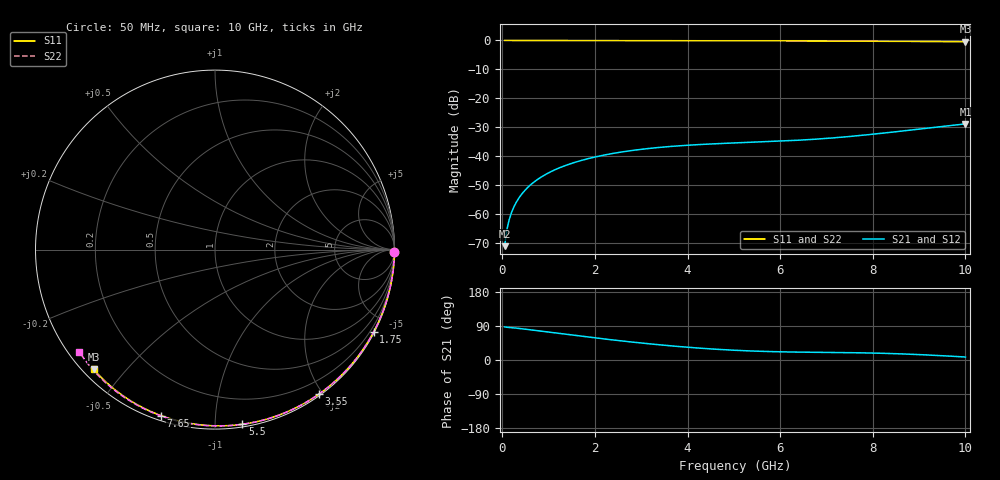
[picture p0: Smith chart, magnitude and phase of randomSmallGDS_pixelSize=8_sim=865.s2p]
! freq	dB(S11)	phase(S11)	dB(S12)	phase(S12)
!  dB(S21)	phase(S21)	dB(S22)	phase(S22)
!S-par simulation data
#  GHz  S  DB  R 50
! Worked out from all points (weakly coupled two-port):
!   200 points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, 50 MHz to 10 GHz, reference 50 ohm
!   highest |S21| = -28.89 dB at 10 GHz (marker M1); lowest = -71.2 dB at 50 MHz (marker M2)
!   lowest |S11| = -0.4 dB at 10 GHz (marker M3), VSWR 38.66, Z = 1.51 - j20.5 ohm
!   |S11| at or under -10 dB: nowhere
!   |S22| runs from -0.5 to 0.0 dB; largest |S21 - S12| = 0
!   S11 on the Smith chart (normalised r, x): 50 MHz: open; 1.75 GHz: 0.04, -4.10; 3.55 GHz: 0.02, -1.95; 5.5 GHz: 0.02, -1.17; 7.65 GHz: 0.02, -0.73; 10 GHz: 0.03, -0.41
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0.05  -0.00 -0.8  -71.23 87.3  -71.23 87.3  -0.00 -0.8
0.1  -0.00 -1.6  -65.42 86.4  -65.42 86.4  -0.00 -1.7
0.15  -0.00 -2.4  -62.00 85.9  -62.00 85.9  -0.00 -2.5
0.2  -0.00 -3.2  -59.56 85.3  -59.56 85.3  -0.00 -3.4
0.25  -0.00 -4.0  -57.65 84.7  -57.65 84.7  -0.00 -4.2
0.35  -0.00 -5.6  -54.77 83.4  -54.77 83.4  -0.00 -5.9
0.5  -0.01 -8.0  -51.71 81.3  -51.71 81.3  -0.01 -8.4
0.7  -0.01 -11.1  -48.84 78.2  -48.84 78.2  -0.01 -11.7
1  -0.02 -15.8  -45.84 73.6  -45.84 73.6  -0.02 -16.7
1.35  -0.03 -21.3  -43.38 68.2  -43.38 68.2  -0.03 -22.4
1.75  -0.04 -27.4  -41.35 62.1  -41.35 62.1  -0.04 -29.0
2.5  -0.05 -38.8  -38.82 51.4  -38.82 51.4  -0.05 -41.0
3.4  -0.07 -52.1  -37.02 40.0  -37.02 40.0  -0.07 -54.9
3.55  -0.07 -54.3  -36.81 38.3  -36.81 38.3  -0.08 -57.2
4.3  -0.09 -64.9  -36.00 30.9  -36.00 30.9  -0.10 -68.4
5.05  -0.12 -75.1  -35.47 25.5  -35.47 25.5  -0.12 -79.1
5.5  -0.13 -81.1  -35.19 23.3  -35.19 23.3  -0.14 -85.4
6.7  -0.19 -96.4  -34.25 20.4  -34.25 20.4  -0.20 -101.6
7.65  -0.24 -108.0  -33.03 19.1  -33.03 19.1  -0.26 -113.8
8.35  -0.29 -116.3  -31.87 17.2  -31.87 17.2  -0.31 -122.6
9.2  -0.37 -126.2  -30.34 13.1  -30.34 13.1  -0.39 -133.2
10  -0.45 -135.4  -28.89 7.9  -28.89 7.9  -0.48 -143.1
